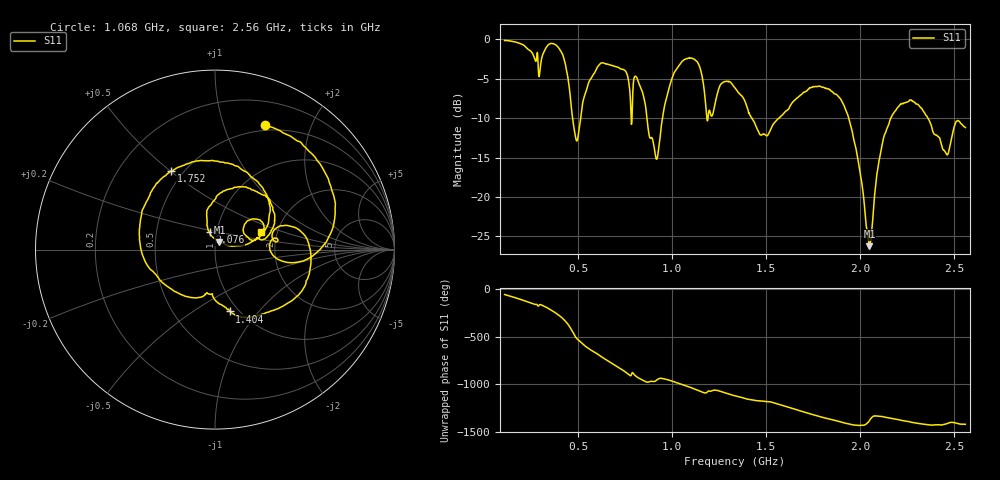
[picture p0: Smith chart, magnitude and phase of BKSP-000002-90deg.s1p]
# MHz S MA R 50
!  freq  S11
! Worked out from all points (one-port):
!   1000 points, 108 MHz to 2.56 GHz, reference 50 ohm
!   lowest |S11| = -26.2 dB at 2.049 GHz (marker M1), VSWR 1.10, Z = 52.4 + j4.4 ohm
!   |S11| at or under -10 dB: 1.424 GHz to 1.568 GHz (144.5 MHz wide, 9.66 % of centre); 1.939 GHz to 2.163 GHz (223.7 MHz wide, 10.9 % of centre); 2.361 GHz to end of sweep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
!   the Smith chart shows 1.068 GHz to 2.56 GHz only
!   S11 on the Smith chart (normalised r, x): 1.068 GHz: 0.44, +1.39; 1.404 GHz: 0.91, -0.72; 1.752 GHz: 0.43, +0.50; 2.076 GHz: 0.92, +0.18; 2.56 GHz: 1.65, +0.35
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108  0.9815 -56.1
196.3604  0.9341 -109.5
331.3554  0.894 168.3
380.4444  0.922 109.2
414.8068  0.8102 57.2
436.8969  0.639 11.9
461.4414  0.3853 -58.2
517.8939  0.3548 156.6
574.3463  0.5817 72.2
638.1622  0.7053 -9.0
682.3423  0.6801 -63.2
721.6136  0.6537 -111.7
755.976  0.6145 -157.1
832.0641  0.4924 135.7
915.5155  0.1737 122.0
1028.42  0.6607 94.2
1067.692  0.7469 68.0
1136.416  0.7071 18.9
1195.323  0.3522 10.1
1335.227  0.489 -40.8
1403.952  0.3544 -76.6
1642.034  0.4007 -173.6
1752.484  0.5017 119.3
1948.841  0.2868 19.4
2049.473  0.04875 59.4
2076.472  0.1016 107.5
2255.648  0.4026 50.0
2560  0.2756 21.1
